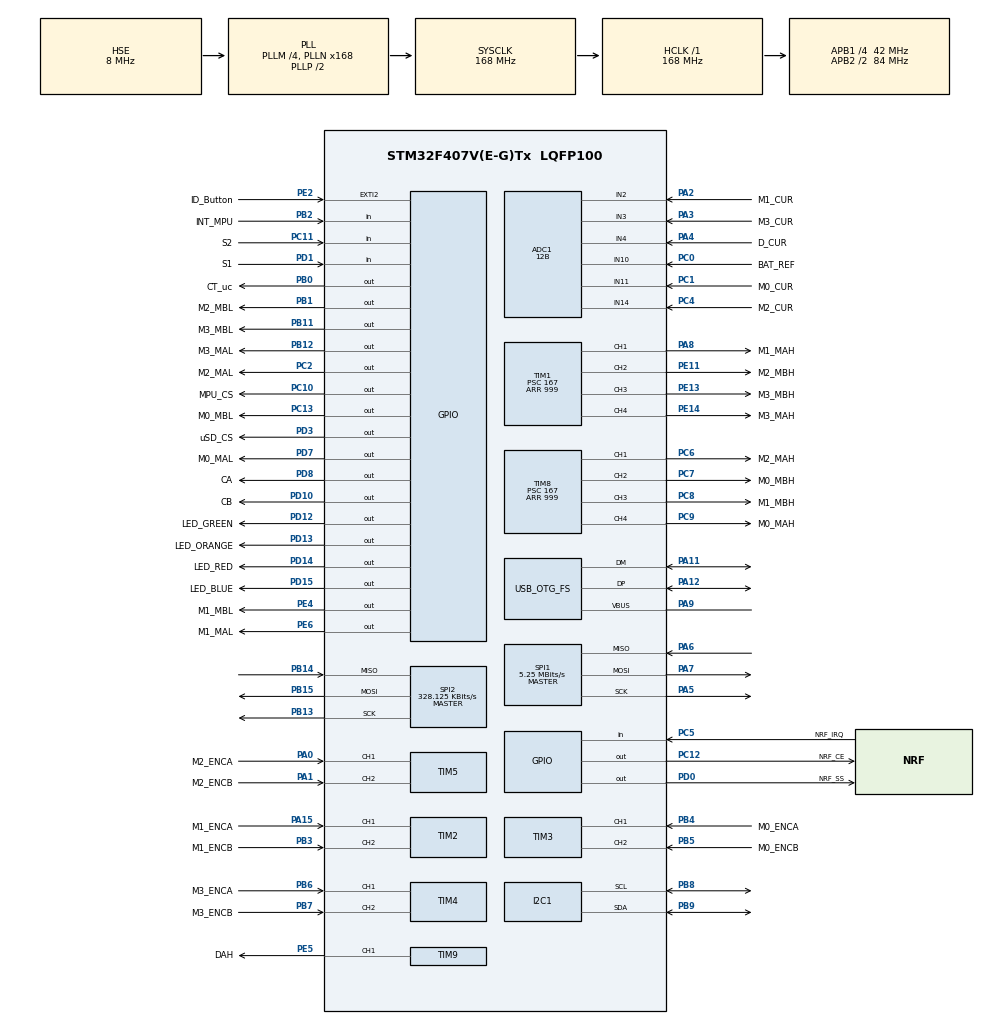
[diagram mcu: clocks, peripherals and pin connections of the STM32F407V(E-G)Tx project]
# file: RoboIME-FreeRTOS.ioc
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ADC1.Channel-0\#ChannelRegularConversion=ADC_CHANNEL_11
ADC1.Channel-1\#ChannelRegularConversion=ADC_CHANNEL_2
ADC1.Channel-2\#ChannelRegularConversion=ADC_CHANNEL_14
ADC1.Channel-3\#ChannelRegularConversion=ADC_CHANNEL_3
ADC1.Channel-4\#ChannelRegularConversion=ADC_CHANNEL_4
ADC1.Channel-5\#ChannelRegularConversion=ADC_CHANNEL_10
ADC1.Channel-6\#ChannelRegularConversion=ADC_CHANNEL_TEMPSENSOR
ADC1.Channel-7\#ChannelRegularConversion=ADC_CHANNEL_VREFINT
ADC1.ClockPrescaler=ADC_CLOCK_SYNC_PCLK_DIV4
ADC1.ContinuousConvMode=ENABLE
ADC1.DMAContinuousRequests=ENABLE
ADC1.DataAlign=ADC_DATAALIGN_RIGHT
ADC1.DiscontinuousConvMode=DISABLE
ADC1.EOCSelection=ADC_EOC_SINGLE_CONV
ADC1.EnableAnalogWatchDog=false
ADC1.ExternalTrigConv=ADC_SOFTWARE_START
ADC1.ExternalTrigConvEdge=ADC_EXTERNALTRIGCONVEDGE_NONE
ADC1.InjNumberOfConversion=0
ADC1.NbrOfConversion=8
ADC1.NbrOfConversionFlag=1
ADC1.Rank-0\#ChannelRegularConversion=1
ADC1.Rank-1\#ChannelRegularConversion=2
ADC1.Rank-2\#ChannelRegularConversion=3
ADC1.Rank-3\#ChannelRegularConversion=4
ADC1.Rank-4\#ChannelRegularConversion=5
ADC1.Rank-5\#ChannelRegularConversion=6
ADC1.Rank-6\#ChannelRegularConversion=7
ADC1.Rank-7\#ChannelRegularConversion=8
ADC1.Resolution=ADC_RESOLUTION_12B
ADC1.SamplingTime-0\#ChannelRegularConversion=ADC_SAMPLETIME_15CYCLES
ADC1.SamplingTime-1\#ChannelRegularConversion=ADC_SAMPLETIME_15CYCLES
ADC1.SamplingTime-2\#ChannelRegularConversion=ADC_SAMPLETIME_15CYCLES
ADC1.SamplingTime-3\#ChannelRegularConversion=ADC_SAMPLETIME_15CYCLES
ADC1.SamplingTime-4\#ChannelRegularConversion=ADC_SAMPLETIME_15CYCLES
ADC1.SamplingTime-5\#ChannelRegularConversion=ADC_SAMPLETIME_15CYCLES
ADC1.SamplingTime-6\#ChannelRegularConversion=ADC_SAMPLETIME_15CYCLES
ADC1.SamplingTime-7\#ChannelRegularConversion=ADC_SAMPLETIME_15CYCLES
ADC1.ScanConvMode=ENABLE
ADC1.master=1
Dma.ADC1.0.Direction=DMA_PERIPH_TO_MEMORY
Dma.ADC1.0.FIFOMode=DMA_FIFOMODE_DISABLE
Dma.ADC1.0.Instance=DMA2_Stream0
Dma.ADC1.0.MemDataAlignment=DMA_MDATAALIGN_HALFWORD
Dma.ADC1.0.MemInc=DMA_MINC_ENABLE
Dma.ADC1.0.Mode=DMA_CIRCULAR
Dma.ADC1.0.PeriphDataAlignment=DMA_PDATAALIGN_HALFWORD
Dma.ADC1.0.PeriphInc=DMA_PINC_DISABLE
Dma.ADC1.0.Priority=DMA_PRIORITY_LOW
Dma.Request0=ADC1
FREERTOS.Tasks01=defaultTask,0,128,StartDefaultTask,Default,NULL
I2C1.DualAddressMode=I2C_DUALADDRESS_ENABLE
I2C1.OwnAddress=65
Mcu.Family=STM32F4
Mcu.Name=STM32F407V(E-G)Tx
Mcu.Package=LQFP100
NVIC.DMA2_Stream0_IRQn=true\:5\:0\:false\:false\:true\:true\:false
NVIC.EXTI2_IRQn=true\:10\:0\:true\:false\:true\:true\:true
NVIC.OTG_FS_IRQn=true\:5\:0\:false\:false\:true\:true\:false
NVIC.PriorityGroup=NVIC_PRIORITYGROUP_4
NVIC.TIM1_CC_IRQn=true\:5\:0\:false\:false\:true\:true\:true
PA0-WKUP.GPIO_Label=M2_ENCA
PA0-WKUP.GPIO_PuPd=GPIO_PULLUP
PA0-WKUP.Signal=S_TIM5_CH1
PA1.GPIO_Label=M2_ENCB
PA1.GPIO_PuPd=GPIO_PULLUP
PA1.Signal=S_TIM5_CH2
PA11.Mode=Device_Only
PA11.Signal=USB_OTG_FS_DM
PA12.Mode=Device_Only
PA12.Signal=USB_OTG_FS_DP
PA13.Mode=Serial_Wire
PA13.Signal=SYS_JTMS-SWDIO
PA14.Mode=Serial_Wire
PA14.Signal=SYS_JTCK-SWCLK
PA15.GPIO_Label=M1_ENCA
PA15.GPIO_PuPd=GPIO_PULLUP
PA15.Signal=S_TIM2_CH1_ETR
PA2.GPIO_Label=M1_CUR
PA2.Signal=ADCx_IN2
PA3.GPIO_Label=M3_CUR
PA3.Signal=ADCx_IN3
PA4.GPIO_Label=D_CUR
PA4.Signal=ADCx_IN4
PA5.Mode=Full_Duplex_Master
PA5.Signal=SPI1_SCK
PA6.Mode=Full_Duplex_Master
PA6.Signal=SPI1_MISO
PA7.Mode=Full_Duplex_Master
PA7.Signal=SPI1_MOSI
PA8.GPIO_Label=M1_MAH
PA8.Signal=S_TIM1_CH1
PA9.Mode=Activate_VBUS
PA9.Signal=USB_OTG_FS_VBUS
PB0.GPIO_Label=CT_uc
PB0.Signal=GPIO_Output
PB1.GPIO_Label=M2_MBL
PB1.Signal=GPIO_Output
PB11.GPIO_Label=M3_MBL
PB11.Signal=GPIO_Output
PB12.GPIO_Label=M3_MAL
PB12.Signal=GPIO_Output
PB13.Mode=Full_Duplex_Master
PB13.Signal=SPI2_SCK
PB14.Mode=Full_Duplex_Master
PB14.Signal=SPI2_MISO
PB15.Mode=Full_Duplex_Master
PB15.Signal=SPI2_MOSI
PB2.GPIO_Label=INT_MPU
PB2.GPIO_PuPd=GPIO_PULLUP
PB2.Signal=GPIO_Input
PB3.GPIO_Label=M1_ENCB
PB3.GPIO_PuPd=GPIO_PULLUP
PB3.Signal=S_TIM2_CH2
PB4.GPIO_Label=M0_ENCA
PB4.GPIO_PuPd=GPIO_PULLUP
PB4.Signal=S_TIM3_CH1
PB5.GPIO_Label=M0_ENCB
PB5.GPIO_PuPd=GPIO_PULLUP
PB5.Signal=S_TIM3_CH2
PB6.GPIO_Label=M3_ENCA
PB6.GPIO_PuPd=GPIO_PULLUP
PB6.Signal=S_TIM4_CH1
PB7.GPIO_Label=M3_ENCB
PB7.GPIO_PuPd=GPIO_PULLUP
PB7.Signal=S_TIM4_CH2
PB8.Mode=I2C
PB8.Signal=I2C1_SCL
PB9.Mode=I2C
PB9.Signal=I2C1_SDA
PC0.GPIO_Label=BAT_REF
PC0.Signal=ADCx_IN10
PC1.GPIO_Label=M0_CUR
PC1.Signal=ADCx_IN11
PC10.GPIO_Label=MPU_CS
PC10.PinState=GPIO_PIN_SET
PC10.Signal=GPIO_Output
PC11.GPIO_Label=S2
PC11.Signal=GPIO_Input
PC12.GPIO_Label=NRF_CE
PC12.PinState=GPIO_PIN_SET
PC12.Signal=GPIO_Output
PC13-ANTI_TAMP.GPIO_Label=M0_MBL
PC13-ANTI_TAMP.Signal=GPIO_Output
PC2.GPIO_Label=M2_MAL
PC2.Signal=GPIO_Output
PC4.GPIO_Label=M2_CUR
PC4.Signal=ADCx_IN14
PC5.GPIO_Label=NRF_IRQ
PC5.GPIO_PuPd=GPIO_PULLUP
PC5.Signal=GPIO_Input
PC6.GPIO_Label=M2_MAH
PC6.Signal=S_TIM8_CH1
PC7.GPIO_Label=M0_MBH
PC7.Signal=S_TIM8_CH2
PC8.GPIO_Label=M1_MBH
PC8.Signal=S_TIM8_CH3
PC9.GPIO_Label=M0_MAH
PC9.Signal=S_TIM8_CH4
PD0.GPIO_Label=NRF_SS
PD0.PinState=GPIO_PIN_SET
PD0.Signal=GPIO_Output
PD1.GPIO_Label=S1
PD1.Signal=GPIO_Input
PD10.GPIO_Label=CB
PD10.Signal=GPIO_Output
PD12.GPIO_Label=LED_GREEN
PD12.Signal=GPIO_Output
PD13.GPIO_Label=LED_ORANGE
PD13.Signal=GPIO_Output
PD14.GPIO_Label=LED_RED
PD14.Signal=GPIO_Output
PD15.GPIO_Label=LED_BLUE
PD15.Signal=GPIO_Output
PD3.GPIO_Label=uSD_CS
PD3.PinState=GPIO_PIN_SET
PD3.Signal=GPIO_Output
PD4.GPIO_Label=Reset(CS43L22)
PD4.Signal=EVENTOUT
PD5.GPIO_Label=USB_overcurrent
PD5.Signal=EVENTOUT
PD7.GPIO_Label=M0_MAL
PD7.Signal=GPIO_Output
PD8.GPIO_Label=CA
PD8.Signal=GPIO_Output
PE11.GPIO_Label=M2_MBH
PE11.Signal=S_TIM1_CH2
PE13.GPIO_Label=M3_MBH
PE13.Signal=S_TIM1_CH3
PE14.GPIO_Label=M3_MAH
PE14.Signal=S_TIM1_CH4
PE2.GPIO_Label=ID_Button
PE2.GPIO_ModeDefaultEXTI=GPIO_MODE_IT_RISING_FALLING
PE2.GPIO_PuPd=GPIO_PULLUP
PE2.Signal=GPXTI2
PE4.GPIO_Label=M1_MBL
PE4.Signal=GPIO_Output
PE5.GPIO_Label=DAH
PE5.Signal=S_TIM9_CH1
PE6.GPIO_Label=M1_MAL
PE6.Signal=GPIO_Output
PH0-OSC_IN.Mode=HSE-External-Oscillator
PH0-OSC_IN.Signal=RCC_OSC_IN
PH1-OSC_OUT.Mode=HSE-External-Oscillator
PH1-OSC_OUT.Signal=RCC_OSC_OUT
ProjectManager.HeapSize=0x200
ProjectManager.StackSize=0x400
ProjectManager.TargetToolchain=TrueSTUDIO
RCC.48MHZClocksFreq_Value=48000000
RCC.AHBFreq_Value=168000000
RCC.APB1CLKDivider=RCC_HCLK_DIV4
RCC.APB1Freq_Value=42000000
RCC.APB1TimFreq_Value=84000000
RCC.APB2CLKDivider=RCC_HCLK_DIV2
RCC.APB2Freq_Value=84000000
RCC.APB2TimFreq_Value=168000000
RCC.CortexFreq_Value=168000000
RCC.HCLKFreq_Value=168000000
RCC.HSE_VALUE=8000000
RCC.HSI_VALUE=16000000
RCC.LSE_VALUE=32768
RCC.PLLM=4
RCC.PLLN=168
RCC.PLLQ=7
RCC.SYSCLKFreq_VALUE=168000000
RCC.SYSCLKSource=RCC_SYSCLKSOURCE_PLLCLK
RCC.VCOOutputFreq_Value=336000000
SH.ADCx_IN10.0=ADC1_IN10,IN10
SH.ADCx_IN11.0=ADC1_IN11,IN11
SH.ADCx_IN14.0=ADC1_IN14,IN14
SH.ADCx_IN2.0=ADC1_IN2,IN2
SH.ADCx_IN3.0=ADC1_IN3,IN3
SH.ADCx_IN4.0=ADC1_IN4,IN4
SH.S_TIM1_CH1.0=TIM1_CH1,PWM Generation1 CH1
SH.S_TIM1_CH2.0=TIM1_CH2,PWM Generation2 CH2
SH.S_TIM1_CH3.0=TIM1_CH3,PWM Generation3 CH3
SH.S_TIM1_CH4.0=TIM1_CH4,PWM Generation4 CH4
SH.S_TIM2_CH1_ETR.0=TIM2_CH1,Encoder_Interface
SH.S_TIM2_CH2.0=TIM2_CH2,Encoder_Interface
SH.S_TIM3_CH1.0=TIM3_CH1,Encoder_Interface
SH.S_TIM3_CH2.0=TIM3_CH2,Encoder_Interface
SH.S_TIM4_CH1.0=TIM4_CH1,Encoder_Interface
SH.S_TIM4_CH2.0=TIM4_CH2,Encoder_Interface
SH.S_TIM5_CH1.0=TIM5_CH1,Encoder_Interface
SH.S_TIM5_CH2.0=TIM5_CH2,Encoder_Interface
SH.S_TIM8_CH1.0=TIM8_CH1,PWM Generation1 CH1
SH.S_TIM8_CH2.0=TIM8_CH2,PWM Generation2 CH2
SH.S_TIM8_CH3.0=TIM8_CH3,PWM Generation3 CH3
SH.S_TIM8_CH4.0=TIM8_CH4,PWM Generation4 CH4
SH.S_TIM9_CH1.0=TIM9_CH1,PWM Generation1 CH1
SPI1.BaudRatePrescaler=SPI_BAUDRATEPRESCALER_16
SPI1.CalculateBaudRate=5.25 MBits/s
SPI1.Direction=SPI_DIRECTION_2LINES
SPI1.Mode=SPI_MODE_MASTER
SPI1.VirtualType=VM_MASTER
SPI2.BaudRatePrescaler=SPI_BAUDRATEPRESCALER_128
SPI2.CalculateBaudRate=328.125 KBits/s
SPI2.Direction=SPI_DIRECTION_2LINES
SPI2.Mode=SPI_MODE_MASTER
SPI2.VirtualType=VM_MASTER
TIM1.Channel-PWM\ Generation1\ CH1=TIM_CHANNEL_1
TIM1.Channel-PWM\ Generation2\ CH2=TIM_CHANNEL_2
TIM1.Channel-PWM\ Generation3\ CH3=TIM_CHANNEL_3
TIM1.Channel-PWM\ Generation4\ CH4=TIM_CHANNEL_4
TIM1.OCIdleState_1=TIM_OCIDLESTATE_SET
TIM1.OCIdleState_2=TIM_OCIDLESTATE_SET
TIM1.OCIdleState_3=TIM_OCIDLESTATE_SET
TIM1.OCIdleState_4=TIM_OCIDLESTATE_SET
TIM1.OCPolarity_1=TIM_OCPOLARITY_LOW
TIM1.OCPolarity_2=TIM_OCPOLARITY_LOW
TIM1.OCPolarity_3=TIM_OCPOLARITY_LOW
TIM1.OCPolarity_4=TIM_OCPOLARITY_LOW
TIM1.Period=999
TIM1.Prescaler=167
TIM8.Channel-PWM\ Generation1\ CH1=TIM_CHANNEL_1
TIM8.Channel-PWM\ Generation2\ CH2=TIM_CHANNEL_2
TIM8.Channel-PWM\ Generation3\ CH3=TIM_CHANNEL_3
TIM8.Channel-PWM\ Generation4\ CH4=TIM_CHANNEL_4
TIM8.OCIdleState_1=TIM_OCIDLESTATE_SET
TIM8.OCIdleState_2=TIM_OCIDLESTATE_SET
TIM8.OCIdleState_3=TIM_OCIDLESTATE_SET
TIM8.OCIdleState_4=TIM_OCIDLESTATE_SET
TIM8.OCPolarity_1=TIM_OCPOLARITY_LOW
TIM8.OCPolarity_2=TIM_OCPOLARITY_LOW
TIM8.OCPolarity_3=TIM_OCPOLARITY_LOW
TIM8.OCPolarity_4=TIM_OCPOLARITY_LOW
TIM8.Period=999
TIM8.Prescaler=167
TIM9.Channel-PWM\ Generation1\ CH1=TIM_CHANNEL_1
TIM9.OCPolarity_1=TIM_OCPOLARITY_LOW
TIM9.Period=999
TIM9.Prescaler=167
USB_DEVICE.CLASS_NAME_FS=CDC
USB_DEVICE.VirtualMode-CDC_FS=Cdc
USB_DEVICE.VirtualModeFS=Cdc_FS
USB_OTG_FS.VirtualMode=Device_Only
VP_ADC1_TempSens_Input.Mode=IN-TempSens
VP_ADC1_Vref_Input.Mode=IN-Vrefint
VP_FREERTOS_VS_ENABLE.Mode=Enabled
VP_USB_DEVICE_VS_USB_DEVICE_CDC_FS.Mode=CDC_FS
board=RoboIME-FreeRTOS

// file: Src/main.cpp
/**
 ******************************************************************************
 * @file           : main.c
 * @brief          : Main program body
 ******************************************************************************
 * This notice applies to any and all portions of this file
 * that are not between comment pairs USER CODE BEGIN and
 * USER CODE END. Other portions of this file, whether
 * inserted by the user or by software development tools
 * are owned by their respective copyright owners.
 *
 * Copyright (c) 2018 STMicroelectronics International N.V.
 * All rights reserved.
 *
 * Redistribution and use in source and binary forms, with or without
 * modification, are permitted, provided that the following conditions are met:
 *
 * 1. Redistribution of source code must retain the above copyright notice,
 *    this list of conditions and the following disclaimer.
 * 2. Redistributions in binary form must reproduce the above copyright notice,
 *    this list of conditions and the following disclaimer in the documentation
 *    and/or other materials provided with the distribution.
 * 3. Neither the name of STMicroelectronics nor the names of other
 *    contributors to this software may be used to endorse or promote products
 *    derived from this software without specific written permission.
 * 4. This software, including modifications and/or derivative works of this
 *    software, must execute solely and exclusively on microcontroller or
 *    microprocessor devices manufactured by or for STMicroelectronics.
 * 5. Redistribution and use of this software other than as permitted under
 *    this license is void and will automatically terminate your rights under
 *    this license.
 *
 * THIS SOFTWARE IS PROVIDED BY STMICROELECTRONICS AND CONTRIBUTORS "AS IS"
 * AND ANY EXPRESS, IMPLIED OR STATUTORY WARRANTIES, INCLUDING, BUT NOT
 * LIMITED TO, THE IMPLIED WARRANTIES OF MERCHANTABILITY, FITNESS FOR A
 * PARTICULAR PURPOSE AND NON-INFRINGEMENT OF THIRD PARTY INTELLECTUAL PROPERTY
 * RIGHTS ARE DISCLAIMED TO THE FULLEST EXTENT PERMITTED BY LAW. IN NO EVENT
 * SHALL STMICROELECTRONICS OR CONTRIBUTORS BE LIABLE FOR ANY DIRECT, INDIRECT,
 * INCIDENTAL, SPECIAL, EXEMPLARY, OR CONSEQUENTIAL DAMAGES (INCLUDING, BUT NOT
 * LIMITED TO, PROCUREMENT OF SUBSTITUTE GOODS OR SERVICES; LOSS OF USE, DATA,
 * OR PROFITS; OR BUSINESS INTERRUPTION) HOWEVER CAUSED AND ON ANY THEORY OF
 * LIABILITY, WHETHER IN CONTRACT, STRICT LIABILITY, OR TORT (INCLUDING
 * NEGLIGENCE OR OTHERWISE) ARISING IN ANY WAY OUT OF THE USE OF THIS SOFTWARE,
 * EVEN IF ADVISED OF THE POSSIBILITY OF SUCH DAMAGE.
 *
 ******************************************************************************
 */
#include "main.h"
#include "stm32f4xx_hal.h"
#include "cmsis_os.h"
#include "usb_device.h"

ADC_HandleTypeDef hadc1;
DMA_HandleTypeDef hdma_adc1;

I2C_HandleTypeDef hi2c1;

SPI_HandleTypeDef hspi1;
SPI_HandleTypeDef hspi2;

TIM_HandleTypeDef htim1;
TIM_HandleTypeDef htim2;
TIM_HandleTypeDef htim3;
TIM_HandleTypeDef htim4;
TIM_HandleTypeDef htim5;
TIM_HandleTypeDef htim8;
TIM_HandleTypeDef htim9;

osThreadId defaultTaskHandle;

/* USER CODE BEGIN PV */
/* Private variables ---------------------------------------------------------*/

/* USER CODE END PV */

void SystemClock_Config(void);
static void MX_GPIO_Init(void);
static void MX_DMA_Init(void);
static void MX_ADC1_Init(void);
static void MX_I2C1_Init(void);
static void MX_SPI1_Init(void);
static void MX_SPI2_Init(void);
static void MX_TIM1_Init(void);
static void MX_TIM2_Init(void);
static void MX_TIM3_Init(void);
static void MX_TIM4_Init(void);
static void MX_TIM5_Init(void);
static void MX_TIM8_Init(void);
static void MX_TIM9_Init(void);
void StartDefaultTask(void const * argument);

extern "C" void HAL_TIM_MspPostInit(TIM_HandleTypeDef *htim);

/* USER CODE BEGIN PFP */
/* Private function prototypes -----------------------------------------------*/

/* USER CODE END PFP */

int main(void)
{

	/* MCU Configuration----------------------------------------------------------*/

	/* Reset of all peripherals, Initializes the Flash interface and the Systick. */
	HAL_Init();

	/* Configure the system clock */
	SystemClock_Config();

	/* Initialize all configured peripherals */
	MX_GPIO_Init();
	MX_DMA_Init();
	MX_ADC1_Init();
	MX_I2C1_Init();
	MX_SPI1_Init();
	MX_SPI2_Init();
	MX_TIM1_Init();
	MX_TIM2_Init();
	MX_TIM3_Init();
	MX_TIM4_Init();
	MX_TIM5_Init();
	MX_TIM8_Init();
	MX_TIM9_Init();

	/* Create the thread(s) */
	/* definition and creation of defaultTask */
	osThreadDef(defaultTask, StartDefaultTask, osPriorityNormal, 0, 128);
	defaultTaskHandle = osThreadCreate(osThread(defaultTask), NULL);

	/* Start scheduler */
	osKernelStart();

	/* We should never get here as control is now taken by the scheduler */

	/* Infinite loop */
	while (1)
	{

	}

}

void SystemClock_Config(void)
{

	RCC_OscInitTypeDef RCC_OscInitStruct;
	RCC_ClkInitTypeDef RCC_ClkInitStruct;

	/**Configure the main internal regulator output voltage
	 */
	__HAL_RCC_PWR_CLK_ENABLE();

	__HAL_PWR_VOLTAGESCALING_CONFIG(PWR_REGULATOR_VOLTAGE_SCALE1);

	/**Initializes the CPU, AHB and APB busses clocks
	 */
	RCC_OscInitStruct.OscillatorType = RCC_OSCILLATORTYPE_HSE;
	RCC_OscInitStruct.HSEState = RCC_HSE_ON;
	RCC_OscInitStruct.PLL.PLLState = RCC_PLL_ON;
	RCC_OscInitStruct.PLL.PLLSource = RCC_PLLSOURCE_HSE;
	RCC_OscInitStruct.PLL.PLLM = 4;
	RCC_OscInitStruct.PLL.PLLN = 168;
	RCC_OscInitStruct.PLL.PLLP = RCC_PLLP_DIV2;
	RCC_OscInitStruct.PLL.PLLQ = 7;
	if (HAL_RCC_OscConfig(&RCC_OscInitStruct) != HAL_OK)
	{
		_Error_Handler(__FILE__, __LINE__);
	}

	/**Initializes the CPU, AHB and APB busses clocks
	 */
	RCC_ClkInitStruct.ClockType = RCC_CLOCKTYPE_HCLK|RCC_CLOCKTYPE_SYSCLK
			|RCC_CLOCKTYPE_PCLK1|RCC_CLOCKTYPE_PCLK2;
	RCC_ClkInitStruct.SYSCLKSource = RCC_SYSCLKSOURCE_PLLCLK;
	RCC_ClkInitStruct.AHBCLKDivider = RCC_SYSCLK_DIV1;
	RCC_ClkInitStruct.APB1CLKDivider = RCC_HCLK_DIV4;
	RCC_ClkInitStruct.APB2CLKDivider = RCC_HCLK_DIV2;

	if (HAL_RCC_ClockConfig(&RCC_ClkInitStruct, FLASH_LATENCY_5) != HAL_OK)
	{
		_Error_Handler(__FILE__, __LINE__);
	}

	/**Configure the Systick interrupt time
	 */
	HAL_SYSTICK_Config(HAL_RCC_GetHCLKFreq()/1000);

	/**Configure the Systick
	 */
	HAL_SYSTICK_CLKSourceConfig(SYSTICK_CLKSOURCE_HCLK);

	/* SysTick_IRQn interrupt configuration */
	HAL_NVIC_SetPriority(SysTick_IRQn, 15, 0);
}

/* ADC1 init function */
static void MX_ADC1_Init(void)
{

	ADC_ChannelConfTypeDef sConfig;

	/**Configure the global features of the ADC (Clock, Resolution, Data Alignment and number of conversion)
	 */
	hadc1.Instance = ADC1;
	hadc1.Init.ClockPrescaler = ADC_CLOCK_SYNC_PCLK_DIV4;
	hadc1.Init.Resolution = ADC_RESOLUTION_12B;
	hadc1.Init.ScanConvMode = ENABLE;
	hadc1.Init.ContinuousConvMode = ENABLE;
	hadc1.Init.DiscontinuousConvMode = DISABLE;
	hadc1.Init.ExternalTrigConvEdge = ADC_EXTERNALTRIGCONVEDGE_NONE;
	hadc1.Init.ExternalTrigConv = ADC_SOFTWARE_START;
	hadc1.Init.DataAlign = ADC_DATAALIGN_RIGHT;
	hadc1.Init.NbrOfConversion = 8;
	hadc1.Init.DMAContinuousRequests = ENABLE;
	hadc1.Init.EOCSelection = ADC_EOC_SINGLE_CONV;
	if (HAL_ADC_Init(&hadc1) != HAL_OK)
	{
		_Error_Handler(__FILE__, __LINE__);
	}

	/**Configure for the selected ADC regular channel its corresponding rank in the sequencer and its sample time.
	 */
	sConfig.Channel = ADC_CHANNEL_11;
	sConfig.Rank = 1;
	sConfig.SamplingTime = ADC_SAMPLETIME_15CYCLES;
	if (HAL_ADC_ConfigChannel(&hadc1, &sConfig) != HAL_OK)
	{
		_Error_Handler(__FILE__, __LINE__);
	}

	/**Configure for the selected ADC regular channel its corresponding rank in the sequencer and its sample time.
	 */
	sConfig.Channel = ADC_CHANNEL_2;
	sConfig.Rank = 2;
	if (HAL_ADC_ConfigChannel(&hadc1, &sConfig) != HAL_OK)
	{
		_Error_Handler(__FILE__, __LINE__);
	}

	/**Configure for the selected ADC regular channel its corresponding rank in the sequencer and its sample time.
	 */
	sConfig.Channel = ADC_CHANNEL_14;
	sConfig.Rank = 3;
	if (HAL_ADC_ConfigChannel(&hadc1, &sConfig) != HAL_OK)
	{
		_Error_Handler(__FILE__, __LINE__);
	}

	/**Configure for the selected ADC regular channel its corresponding rank in the sequencer and its sample time.
	 */
	sConfig.Channel = ADC_CHANNEL_3;
	sConfig.Rank = 4;
	if (HAL_ADC_ConfigChannel(&hadc1, &sConfig) != HAL_OK)
	{
		_Error_Handler(__FILE__, __LINE__);
	}

	/**Configure for the selected ADC regular channel its corresponding rank in the sequencer and its sample time.
	 */
	sConfig.Channel = ADC_CHANNEL_4;
	sConfig.Rank = 5;
	if (HAL_ADC_ConfigChannel(&hadc1, &sConfig) != HAL_OK)
	{
		_Error_Handler(__FILE__, __LINE__);
	}

	/**Configure for the selected ADC regular channel its corresponding rank in the sequencer and its sample time.
	 */
	sConfig.Channel = ADC_CHANNEL_10;
	sConfig.Rank = 6;
	if (HAL_ADC_ConfigChannel(&hadc1, &sConfig) != HAL_OK)
	{
		_Error_Handler(__FILE__, __LINE__);
	}

	/**Configure for the selected ADC regular channel its corresponding rank in the sequencer and its sample time.
	 */
	sConfig.Channel = ADC_CHANNEL_TEMPSENSOR;
	sConfig.Rank = 7;
	if (HAL_ADC_ConfigChannel(&hadc1, &sConfig) != HAL_OK)
	{
		_Error_Handler(__FILE__, __LINE__);
	}

	/**Configure for the selected ADC regular channel its corresponding rank in the sequencer and its sample time.
	 */
	sConfig.Channel = ADC_CHANNEL_VREFINT;
	sConfig.Rank = 8;
	if (HAL_ADC_ConfigChannel(&hadc1, &sConfig) != HAL_OK)
	{
		_Error_Handler(__FILE__, __LINE__);
	}

}

/* I2C1 init function */
static void MX_I2C1_Init(void)
{

	hi2c1.Instance = I2C1;
	hi2c1.Init.ClockSpeed = 100000;
	hi2c1.Init.DutyCycle = I2C_DUTYCYCLE_2;
	hi2c1.Init.OwnAddress1 = 130;
	hi2c1.Init.AddressingMode = I2C_ADDRESSINGMODE_7BIT;
	hi2c1.Init.DualAddressMode = I2C_DUALADDRESS_ENABLE;
	hi2c1.Init.OwnAddress2 = 0;
	hi2c1.Init.GeneralCallMode = I2C_GENERALCALL_DISABLE;
	hi2c1.Init.NoStretchMode = I2C_NOSTRETCH_DISABLE;
	if (HAL_I2C_Init(&hi2c1) != HAL_OK)
	{
		_Error_Handler(__FILE__, __LINE__);
	}

}

/* SPI1 init function */
static void MX_SPI1_Init(void)
{

	/* SPI1 parameter configuration*/
	hspi1.Instance = SPI1;
	hspi1.Init.Mode = SPI_MODE_MASTER;
	hspi1.Init.Direction = SPI_DIRECTION_2LINES;
	hspi1.Init.DataSize = SPI_DATASIZE_8BIT;
	hspi1.Init.CLKPolarity = SPI_POLARITY_LOW;
	hspi1.Init.CLKPhase = SPI_PHASE_1EDGE;
	hspi1.Init.NSS = SPI_NSS_SOFT;
	hspi1.Init.BaudRatePrescaler = SPI_BAUDRATEPRESCALER_16;
	hspi1.Init.FirstBit = SPI_FIRSTBIT_MSB;
	hspi1.Init.TIMode = SPI_TIMODE_DISABLE;
	hspi1.Init.CRCCalculation = SPI_CRCCALCULATION_DISABLE;
	hspi1.Init.CRCPolynomial = 10;
	if (HAL_SPI_Init(&hspi1) != HAL_OK)
	{
		_Error_Handler(__FILE__, __LINE__);
	}

}

/* SPI2 init function */
static void MX_SPI2_Init(void)
{

	/* SPI2 parameter configuration*/
	hspi2.Instance = SPI2;
	hspi2.Init.Mode = SPI_MODE_MASTER;
	hspi2.Init.Direction = SPI_DIRECTION_2LINES;
	hspi2.Init.DataSize = SPI_DATASIZE_8BIT;
	hspi2.Init.CLKPolarity = SPI_POLARITY_LOW;
	hspi2.Init.CLKPhase = SPI_PHASE_1EDGE;
	hspi2.Init.NSS = SPI_NSS_SOFT;
	hspi2.Init.BaudRatePrescaler = SPI_BAUDRATEPRESCALER_128;
	hspi2.Init.FirstBit = SPI_FIRSTBIT_MSB;
	hspi2.Init.TIMode = SPI_TIMODE_DISABLE;
	hspi2.Init.CRCCalculation = SPI_CRCCALCULATION_DISABLE;
	hspi2.Init.CRCPolynomial = 10;
	if (HAL_SPI_Init(&hspi2) != HAL_OK)
	{
		_Error_Handler(__FILE__, __LINE__);
	}

}

/* TIM1 init function */
static void MX_TIM1_Init(void)
{

	TIM_MasterConfigTypeDef sMasterConfig;
	TIM_OC_InitTypeDef sConfigOC;
	TIM_BreakDeadTimeConfigTypeDef sBreakDeadTimeConfig;

	htim1.Instance = TIM1;
	htim1.Init.Prescaler = 167;
	htim1.Init.CounterMode = TIM_COUNTERMODE_UP;
	htim1.Init.Period = 999;
	htim1.Init.ClockDivision = TIM_CLOCKDIVISION_DIV1;
	htim1.Init.RepetitionCounter = 0;
	if (HAL_TIM_PWM_Init(&htim1) != HAL_OK)
	{
		_Error_Handler(__FILE__, __LINE__);
	}

	sMasterConfig.MasterOutputTrigger = TIM_TRGO_RESET;
	sMasterConfig.MasterSlaveMode = TIM_MASTERSLAVEMODE_DISABLE;
	if (HAL_TIMEx_MasterConfigSynchronization(&htim1, &sMasterConfig) != HAL_OK)
	{
		_Error_Handler(__FILE__, __LINE__);
	}

	sConfigOC.OCMode = TIM_OCMODE_PWM1;
	sConfigOC.Pulse = 0;
	sConfigOC.OCPolarity = TIM_OCPOLARITY_LOW;
	sConfigOC.OCNPolarity = TIM_OCNPOLARITY_HIGH;
	sConfigOC.OCFastMode = TIM_OCFAST_DISABLE;
	sConfigOC.OCIdleState = TIM_OCIDLESTATE_SET;
	sConfigOC.OCNIdleState = TIM_OCNIDLESTATE_RESET;
	if (HAL_TIM_PWM_ConfigChannel(&htim1, &sConfigOC, TIM_CHANNEL_1) != HAL_OK)
	{
		_Error_Handler(__FILE__, __LINE__);
	}

	if (HAL_TIM_PWM_ConfigChannel(&htim1, &sConfigOC, TIM_CHANNEL_2) != HAL_OK)
	{
		_Error_Handler(__FILE__, __LINE__);
	}

	if (HAL_TIM_PWM_ConfigChannel(&htim1, &sConfigOC, TIM_CHANNEL_3) != HAL_OK)
	{
		_Error_Handler(__FILE__, __LINE__);
	}

	if (HAL_TIM_PWM_ConfigChannel(&htim1, &sConfigOC, TIM_CHANNEL_4) != HAL_OK)
	{
		_Error_Handler(__FILE__, __LINE__);
	}

	sBreakDeadTimeConfig.OffStateRunMode = TIM_OSSR_DISABLE;
	sBreakDeadTimeConfig.OffStateIDLEMode = TIM_OSSI_DISABLE;
	sBreakDeadTimeConfig.LockLevel = TIM_LOCKLEVEL_OFF;
	sBreakDeadTimeConfig.DeadTime = 0;
	sBreakDeadTimeConfig.BreakState = TIM_BREAK_DISABLE;
	sBreakDeadTimeConfig.BreakPolarity = TIM_BREAKPOLARITY_HIGH;
	sBreakDeadTimeConfig.AutomaticOutput = TIM_AUTOMATICOUTPUT_DISABLE;
	if (HAL_TIMEx_ConfigBreakDeadTime(&htim1, &sBreakDeadTimeConfig) != HAL_OK)
	{
		_Error_Handler(__FILE__, __LINE__);
	}

	HAL_TIM_MspPostInit(&htim1);

}

/* TIM2 init function */
static void MX_TIM2_Init(void)
{

	TIM_Encoder_InitTypeDef sConfig;
	TIM_MasterConfigTypeDef sMasterConfig;

	htim2.Instance = TIM2;
	htim2.Init.Prescaler = 0;
	htim2.Init.CounterMode = TIM_COUNTERMODE_UP;
	htim2.Init.Period = 0;
	htim2.Init.ClockDivision = TIM_CLOCKDIVISION_DIV1;
	sConfig.EncoderMode = TIM_ENCODERMODE_TI1;
	sConfig.IC1Polarity = TIM_ICPOLARITY_RISING;
	sConfig.IC1Selection = TIM_ICSELECTION_DIRECTTI;
	sConfig.IC1Prescaler = TIM_ICPSC_DIV1;
	sConfig.IC1Filter = 0;
	sConfig.IC2Polarity = TIM_ICPOLARITY_RISING;
	sConfig.IC2Selection = TIM_ICSELECTION_DIRECTTI;
	sConfig.IC2Prescaler = TIM_ICPSC_DIV1;
	sConfig.IC2Filter = 0;
	if (HAL_TIM_Encoder_Init(&htim2, &sConfig) != HAL_OK)
	{
		_Error_Handler(__FILE__, __LINE__);
	}

	sMasterConfig.MasterOutputTrigger = TIM_TRGO_RESET;
	sMasterConfig.MasterSlaveMode = TIM_MASTERSLAVEMODE_DISABLE;
	if (HAL_TIMEx_MasterConfigSynchronization(&htim2, &sMasterConfig) != HAL_OK)
	{
		_Error_Handler(__FILE__, __LINE__);
	}

}

/* TIM3 init function */
static void MX_TIM3_Init(void)
{

	TIM_Encoder_InitTypeDef sConfig;
	TIM_MasterConfigTypeDef sMasterConfig;

	htim3.Instance = TIM3;
	htim3.Init.Prescaler = 0;
	htim3.Init.CounterMode = TIM_COUNTERMODE_UP;
	htim3.Init.Period = 0;
	htim3.Init.ClockDivision = TIM_CLOCKDIVISION_DIV1;
	sConfig.EncoderMode = TIM_ENCODERMODE_TI1;
	sConfig.IC1Polarity = TIM_ICPOLARITY_RISING;
	sConfig.IC1Selection = TIM_ICSELECTION_DIRECTTI;
	sConfig.IC1Prescaler = TIM_ICPSC_DIV1;
	sConfig.IC1Filter = 0;
	sConfig.IC2Polarity = TIM_ICPOLARITY_RISING;
	sConfig.IC2Selection = TIM_ICSELECTION_DIRECTTI;
	sConfig.IC2Prescaler = TIM_ICPSC_DIV1;
	sConfig.IC2Filter = 0;
	if (HAL_TIM_Encoder_Init(&htim3, &sConfig) != HAL_OK)
	{
		_Error_Handler(__FILE__, __LINE__);
	}

	sMasterConfig.MasterOutputTrigger = TIM_TRGO_RESET;
	sMasterConfig.MasterSlaveMode = TIM_MASTERSLAVEMODE_DISABLE;
	if (HAL_TIMEx_MasterConfigSynchronization(&htim3, &sMasterConfig) != HAL_OK)
	{
		_Error_Handler(__FILE__, __LINE__);
	}

}

/* TIM4 init function */
static void MX_TIM4_Init(void)
{

	TIM_Encoder_InitTypeDef sConfig;
	TIM_MasterConfigTypeDef sMasterConfig;

	htim4.Instance = TIM4;
	htim4.Init.Prescaler = 0;
	htim4.Init.CounterMode = TIM_COUNTERMODE_UP;
	htim4.Init.Period = 0;
	htim4.Init.ClockDivision = TIM_CLOCKDIVISION_DIV1;
	sConfig.EncoderMode = TIM_ENCODERMODE_TI1;
	sConfig.IC1Polarity = TIM_ICPOLARITY_RISING;
	sConfig.IC1Selection = TIM_ICSELECTION_DIRECTTI;
	sConfig.IC1Prescaler = TIM_ICPSC_DIV1;
	sConfig.IC1Filter = 0;
	sConfig.IC2Polarity = TIM_ICPOLARITY_RISING;
	sConfig.IC2Selection = TIM_ICSELECTION_DIRECTTI;
	sConfig.IC2Prescaler = TIM_ICPSC_DIV1;
	sConfig.IC2Filter = 0;
	if (HAL_TIM_Encoder_Init(&htim4, &sConfig) != HAL_OK)
	{
		_Error_Handler(__FILE__, __LINE__);
	}

	sMasterConfig.MasterOutputTrigger = TIM_TRGO_RESET;
	sMasterConfig.MasterSlaveMode = TIM_MASTERSLAVEMODE_DISABLE;
	if (HAL_TIMEx_MasterConfigSynchronization(&htim4, &sMasterConfig) != HAL_OK)
	{
		_Error_Handler(__FILE__, __LINE__);
	}

}

/* TIM5 init function */
static void MX_TIM5_Init(void)
{

	TIM_Encoder_InitTypeDef sConfig;
	TIM_MasterConfigTypeDef sMasterConfig;

	htim5.Instance = TIM5;
	htim5.Init.Prescaler = 0;
	htim5.Init.CounterMode = TIM_COUNTERMODE_UP;
	htim5.Init.Period = 0;
	htim5.Init.ClockDivision = TIM_CLOCKDIVISION_DIV1;
	sConfig.EncoderMode = TIM_ENCODERMODE_TI1;
	sConfig.IC1Polarity = TIM_ICPOLARITY_RISING;
	sConfig.IC1Selection = TIM_ICSELECTION_DIRECTTI;
	sConfig.IC1Prescaler = TIM_ICPSC_DIV1;
	sConfig.IC1Filter = 0;
	sConfig.IC2Polarity = TIM_ICPOLARITY_RISING;
	sConfig.IC2Selection = TIM_ICSELECTION_DIRECTTI;
	sConfig.IC2Prescaler = TIM_ICPSC_DIV1;
	sConfig.IC2Filter = 0;
	if (HAL_TIM_Encoder_Init(&htim5, &sConfig) != HAL_OK)
	{
		_Error_Handler(__FILE__, __LINE__);
	}

	sMasterConfig.MasterOutputTrigger = TIM_TRGO_RESET;
	sMasterConfig.MasterSlaveMode = TIM_MASTERSLAVEMODE_DISABLE;
	if (HAL_TIMEx_MasterConfigSynchronization(&htim5, &sMasterConfig) != HAL_OK)
	{
		_Error_Handler(__FILE__, __LINE__);
	}

}

/* TIM8 init function */
static void MX_TIM8_Init(void)
{

	TIM_MasterConfigTypeDef sMasterConfig;
	TIM_OC_InitTypeDef sConfigOC;
	TIM_BreakDeadTimeConfigTypeDef sBreakDeadTimeConfig;

	htim8.Instance = TIM8;
	htim8.Init.Prescaler = 167;
	htim8.Init.CounterMode = TIM_COUNTERMODE_UP;
	htim8.Init.Period = 999;
	htim8.Init.ClockDivision = TIM_CLOCKDIVISION_DIV1;
	htim8.Init.RepetitionCounter = 0;
	if (HAL_TIM_PWM_Init(&htim8) != HAL_OK)
	{
		_Error_Handler(__FILE__, __LINE__);
	}

	sMasterConfig.MasterOutputTrigger = TIM_TRGO_RESET;
	sMasterConfig.MasterSlaveMode = TIM_MASTERSLAVEMODE_DISABLE;
	if (HAL_TIMEx_MasterConfigSynchronization(&htim8, &sMasterConfig) != HAL_OK)
	{
		_Error_Handler(__FILE__, __LINE__);
	}

	sConfigOC.OCMode = TIM_OCMODE_PWM1;
	sConfigOC.Pulse = 0;
	sConfigOC.OCPolarity = TIM_OCPOLARITY_LOW;
	sConfigOC.OCNPolarity = TIM_OCNPOLARITY_HIGH;
	sConfigOC.OCFastMode = TIM_OCFAST_DISABLE;
	sConfigOC.OCIdleState = TIM_OCIDLESTATE_SET;
	sConfigOC.OCNIdleState = TIM_OCNIDLESTATE_RESET;
	if (HAL_TIM_PWM_ConfigChannel(&htim8, &sConfigOC, TIM_CHANNEL_1) != HAL_OK)
	{
		_Error_Handler(__FILE__, __LINE__);
	}

	if (HAL_TIM_PWM_ConfigChannel(&htim8, &sConfigOC, TIM_CHANNEL_2) != HAL_OK)
	{
		_Error_Handler(__FILE__, __LINE__);
	}

	if (HAL_TIM_PWM_ConfigChannel(&htim8, &sConfigOC, TIM_CHANNEL_3) != HAL_OK)
	{
		_Error_Handler(__FILE__, __LINE__);
	}

	if (HAL_TIM_PWM_ConfigChannel(&htim8, &sConfigOC, TIM_CHANNEL_4) != HAL_OK)
	{
		_Error_Handler(__FILE__, __LINE__);
	}

	sBreakDeadTimeConfig.OffStateRunMode = TIM_OSSR_DISABLE;
	sBreakDeadTimeConfig.OffStateIDLEMode = TIM_OSSI_DISABLE;
	sBreakDeadTimeConfig.LockLevel = TIM_LOCKLEVEL_OFF;
	sBreakDeadTimeConfig.DeadTime = 0;
	sBreakDeadTimeConfig.BreakState = TIM_BREAK_DISABLE;
	sBreakDeadTimeConfig.BreakPolarity = TIM_BREAKPOLARITY_HIGH;
	sBreakDeadTimeConfig.AutomaticOutput = TIM_AUTOMATICOUTPUT_DISABLE;
	if (HAL_TIMEx_ConfigBreakDeadTime(&htim8, &sBreakDeadTimeConfig) != HAL_OK)
	{
		_Error_Handler(__FILE__, __LINE__);
	}

	HAL_TIM_MspPostInit(&htim8);

}

/* TIM9 init function */
static void MX_TIM9_Init(void)
{

	TIM_OC_InitTypeDef sConfigOC;

	htim9.Instance = TIM9;
	htim9.Init.Prescaler = 167;
	htim9.Init.CounterMode = TIM_COUNTERMODE_UP;
	htim9.Init.Period = 999;
	htim9.Init.ClockDivision = TIM_CLOCKDIVISION_DIV1;
	if (HAL_TIM_PWM_Init(&htim9) != HAL_OK)
	{
		_Error_Handler(__FILE__, __LINE__);
	}

	sConfigOC.OCMode = TIM_OCMODE_PWM1;
	sConfigOC.Pulse = 0;
	sConfigOC.OCPolarity = TIM_OCPOLARITY_LOW;
	sConfigOC.OCFastMode = TIM_OCFAST_DISABLE;
	if (HAL_TIM_PWM_ConfigChannel(&htim9, &sConfigOC, TIM_CHANNEL_1) != HAL_OK)
	{
		_Error_Handler(__FILE__, __LINE__);
	}

	HAL_TIM_MspPostInit(&htim9);

}

static void MX_DMA_Init(void)
{
	/* DMA controller clock enable */
	__HAL_RCC_DMA2_CLK_ENABLE();

	/* DMA interrupt init */
	/* DMA2_Stream0_IRQn interrupt configuration */
	HAL_NVIC_SetPriority(DMA2_Stream0_IRQn, 5, 0);
	HAL_NVIC_EnableIRQ(DMA2_Stream0_IRQn);

}

/** Configure pins as
 * Analog
 * Input
 * Output
 * EVENT_OUT
 * EXTI
 */
static void MX_GPIO_Init(void)
{

	GPIO_InitTypeDef GPIO_InitStruct;

	/* GPIO Ports Clock Enable */
	__HAL_RCC_GPIOE_CLK_ENABLE();
	__HAL_RCC_GPIOC_CLK_ENABLE();
	__HAL_RCC_GPIOH_CLK_ENABLE();
	__HAL_RCC_GPIOA_CLK_ENABLE();
	__HAL_RCC_GPIOB_CLK_ENABLE();
	__HAL_RCC_GPIOD_CLK_ENABLE();

	/*Configure GPIO pin Output Level */
	HAL_GPIO_WritePin(GPIOE, M1_MBL_Pin|M1_MAL_Pin, GPIO_PIN_RESET);

	/*Configure GPIO pin Output Level */
	HAL_GPIO_WritePin(GPIOC, M0_MBL_Pin|M2_MAL_Pin, GPIO_PIN_RESET);

	/*Configure GPIO pin Output Level */
	HAL_GPIO_WritePin(GPIOB, CT_uc_Pin|M2_MBL_Pin|M3_MBL_Pin|M3_MAL_Pin, GPIO_PIN_RESET);

	/*Configure GPIO pin Output Level */
	HAL_GPIO_WritePin(GPIOD, CA_Pin|CB_Pin|LED_GREEN_Pin|LED_ORANGE_Pin
			|LED_RED_Pin|LED_BLUE_Pin|M0_MAL_Pin, GPIO_PIN_RESET);

	/*Configure GPIO pin Output Level */
	HAL_GPIO_WritePin(GPIOC, MPU_CS_Pin|NRF_CE_Pin, GPIO_PIN_SET);

	/*Configure GPIO pin Output Level */
	HAL_GPIO_WritePin(GPIOD, NRF_SS_Pin|uSD_CS_Pin, GPIO_PIN_SET);

	/*Configure GPIO pin : ID_Button_Pin */
	GPIO_InitStruct.Pin = ID_Button_Pin;
	GPIO_InitStruct.Mode = GPIO_MODE_IT_RISING_FALLING;
	GPIO_InitStruct.Pull = GPIO_PULLUP;
	HAL_GPIO_Init(ID_Button_GPIO_Port, &GPIO_InitStruct);

	/*Configure GPIO pins : M1_MBL_Pin M1_MAL_Pin */
	GPIO_InitStruct.Pin = M1_MBL_Pin|M1_MAL_Pin;
	GPIO_InitStruct.Mode = GPIO_MODE_OUTPUT_PP;
	GPIO_InitStruct.Pull = GPIO_NOPULL;
	GPIO_InitStruct.Speed = GPIO_SPEED_FREQ_LOW;
	HAL_GPIO_Init(GPIOE, &GPIO_InitStruct);

	/*Configure GPIO pins : M0_MBL_Pin M2_MAL_Pin MPU_CS_Pin NRF_CE_Pin */
	GPIO_InitStruct.Pin = M0_MBL_Pin|M2_MAL_Pin|MPU_CS_Pin|NRF_CE_Pin;
	GPIO_InitStruct.Mode = GPIO_MODE_OUTPUT_PP;
	GPIO_InitStruct.Pull = GPIO_NOPULL;
	GPIO_InitStruct.Speed = GPIO_SPEED_FREQ_LOW;
	HAL_GPIO_Init(GPIOC, &GPIO_InitStruct);

	/*Configure GPIO pin : NRF_IRQ_Pin */
	GPIO_InitStruct.Pin = NRF_IRQ_Pin;
	GPIO_InitStruct.Mode = GPIO_MODE_INPUT;
	GPIO_InitStruct.Pull = GPIO_PULLUP;
	HAL_GPIO_Init(NRF_IRQ_GPIO_Port, &GPIO_InitStruct);

	/*Configure GPIO pins : CT_uc_Pin M2_MBL_Pin M3_MBL_Pin M3_MAL_Pin */
	GPIO_InitStruct.Pin = CT_uc_Pin|M2_MBL_Pin|M3_MBL_Pin|M3_MAL_Pin;
	GPIO_InitStruct.Mode = GPIO_MODE_OUTPUT_PP;
	GPIO_InitStruct.Pull = GPIO_NOPULL;
	GPIO_InitStruct.Speed = GPIO_SPEED_FREQ_LOW;
	HAL_GPIO_Init(GPIOB, &GPIO_InitStruct);

	/*Configure GPIO pin : INT_MPU_Pin */
	GPIO_InitStruct.Pin = INT_MPU_Pin;
	GPIO_InitStruct.Mode = GPIO_MODE_INPUT;
	GPIO_InitStruct.Pull = GPIO_PULLUP;
	HAL_GPIO_Init(INT_MPU_GPIO_Port, &GPIO_InitStruct);

	/*Configure GPIO pins : CA_Pin CB_Pin LED_GREEN_Pin LED_ORANGE_Pin
                           LED_RED_Pin LED_BLUE_Pin NRF_SS_Pin uSD_CS_Pin
                           M0_MAL_Pin */
	GPIO_InitStruct.Pin = CA_Pin|CB_Pin|LED_GREEN_Pin|LED_ORANGE_Pin
			|LED_RED_Pin|LED_BLUE_Pin|NRF_SS_Pin|uSD_CS_Pin
			|M0_MAL_Pin;
	GPIO_InitStruct.Mode = GPIO_MODE_OUTPUT_PP;
	GPIO_InitStruct.Pull = GPIO_NOPULL;
	GPIO_InitStruct.Speed = GPIO_SPEED_FREQ_LOW;
	HAL_GPIO_Init(GPIOD, &GPIO_InitStruct);

	/*Configure GPIO pin : S2_Pin */
	GPIO_InitStruct.Pin = S2_Pin;
	GPIO_InitStruct.Mode = GPIO_MODE_INPUT;
	GPIO_InitStruct.Pull = GPIO_NOPULL;
	HAL_GPIO_Init(S2_GPIO_Port, &GPIO_InitStruct);

	/*Configure GPIO pin : S1_Pin */
	GPIO_InitStruct.Pin = S1_Pin;
	GPIO_InitStruct.Mode = GPIO_MODE_INPUT;
	GPIO_InitStruct.Pull = GPIO_NOPULL;
	HAL_GPIO_Init(S1_GPIO_Port, &GPIO_InitStruct);

	/*Configure GPIO pins : Reset_Pin USB_overcurrent_Pin */
	GPIO_InitStruct.Pin = Reset_Pin|USB_overcurrent_Pin;
	GPIO_InitStruct.Mode = GPIO_MODE_AF_PP;
	GPIO_InitStruct.Pull = GPIO_NOPULL;
	GPIO_InitStruct.Speed = GPIO_SPEED_FREQ_LOW;
	GPIO_InitStruct.Alternate = GPIO_AF15_EVENTOUT;
	HAL_GPIO_Init(GPIOD, &GPIO_InitStruct);

	/* EXTI interrupt init*/
	HAL_NVIC_SetPriority(EXTI2_IRQn, 10, 0);
	HAL_NVIC_EnableIRQ(EXTI2_IRQn);

}

void STMPE811_Clear(){
	uint8_t data[1]={0xFF};
	HAL_I2C_Mem_Write(&hi2c1, 0x82, 0x11, 1, data, 1, 1000);
	data[0]=0;
	HAL_I2C_Mem_Write(&hi2c1, 0x82, 0x10, 1, data, 1, 1000);
}

void STMPE811_WriteNumber(uint8_t number){
	static const uint8_t number_table[16]={0x77, 0x06, 0xB5, 0x97, 0xC6, 0xD3, 0xF3, 0x07, 0xF7, 0xD7, 0xe7, 0xF2, 0x71, 0xB6, 0xF1, 0xE1};
	uint8_t data[1];
	data[0]=number_table[number%16] | ((number>15)?0x08:0x00);
	HAL_I2C_Mem_Write(&hi2c1, 0x82, 0x10, 1, data, 1, 1000);
	data[0]=~data[0];
	HAL_I2C_Mem_Write(&hi2c1, 0x82, 0x11, 1, data, 1, 1000);
}

void STMPE811_WriteLetter(uint8_t letter){
	uint8_t data[1];
	switch(letter){
	case 'i':
		data[0]=0x0A;
		break;
	case 'b':
		data[0]=0xFA;
		break;
	case 'o':
		data[0]=0xBA;
		break;
	case 'c':
		data[0]=0xB8;
		break;
	case '.':
		data[0]=0x08;
		break;
	default:
		data[0]=0;
	}
	HAL_I2C_Mem_Write(&hi2c1, 0x82, 0x10, 1, data, 1, 1000);
	data[0]=~data[0];
	HAL_I2C_Mem_Write(&hi2c1, 0x82, 0x11, 1, data, 1, 1000);
}

void SelfTest(){
	uint8_t data[2], rxdata[2];

	uint8_t error=0;

	//TESTE STMPE811
	if(HAL_I2C_IsDeviceReady(&hi2c1, 0x82, 3, 1000)==HAL_OK){
		data[0]=0x02;
		HAL_I2C_Mem_Write(&hi2c1, 0x82, 0x03, 1, data, 1, 1000);
		HAL_I2C_Mem_Read(&hi2c1,0x82, 0x00, 1, data, 2,1000);
		if(*(uint16_t*)data==0x1108){
			data[0]=0x0b;
			HAL_I2C_Mem_Write(&hi2c1, 0x82, 0x04, 1, data, 1, 1000);
			data[0]=0xff;
			HAL_I2C_Mem_Write(&hi2c1, 0x82, 0x17, 1, data, 1, 1000);
			HAL_I2C_Mem_Write(&hi2c1, 0x82, 0x13, 1, data, 1, 1000);
		}
	} else {
		error|=1;
	}

	//TESTE MPU
	data[0]=0xF5; data[1]=0xff;
	HAL_GPIO_WritePin(MPU_CS_GPIO_Port, MPU_CS_Pin, GPIO_PIN_RESET);
	HAL_SPI_TransmitReceive(&hspi2, data, rxdata, 2, 1000);
	HAL_GPIO_WritePin(MPU_CS_GPIO_Port, MPU_CS_Pin, GPIO_PIN_SET);
	osDelay(1);
	HAL_GPIO_WritePin(MPU_CS_GPIO_Port, MPU_CS_Pin, GPIO_PIN_RESET);
	HAL_SPI_TransmitReceive(&hspi2, data, rxdata, 2, 1000);
	HAL_GPIO_WritePin(MPU_CS_GPIO_Port, MPU_CS_Pin, GPIO_PIN_SET);
	if(rxdata[1]==0x71){
	} else {
		error|=2;
	}

	//TESTE NRF
	data[0]=0x00; data[1]=0xff;
	HAL_GPIO_WritePin(NRF_SS_GPIO_Port, NRF_SS_Pin, GPIO_PIN_RESET);
	HAL_SPI_TransmitReceive(&hspi1, data, rxdata, 2, 1000);
	HAL_GPIO_WritePin(NRF_SS_GPIO_Port, NRF_SS_Pin, GPIO_PIN_SET);
	osDelay(1);
	HAL_GPIO_WritePin(NRF_SS_GPIO_Port, NRF_SS_Pin, GPIO_PIN_RESET);
	HAL_SPI_TransmitReceive(&hspi1, data, rxdata, 2, 1000);
	HAL_GPIO_WritePin(NRF_SS_GPIO_Port, NRF_SS_Pin, GPIO_PIN_SET);

	if(rxdata[0]==0x0E){
	} else {
		error|=4;
	}

	if(error){
		uint8_t i=5;
		while(i--){
			STMPE811_WriteNumber(0x1E);
			osDelay(500);
			STMPE811_Clear();
			osDelay(100);
			STMPE811_WriteNumber(error);
			osDelay(1000);
			STMPE811_Clear();
			osDelay(100);
		}
	} else {

	}
}

extern "C" void HAL_GPIO_EXTI_Callback(uint16_t GPIO_Pin){
	if(GPIO_Pin==GPIO_PIN_2){
		static uint32_t tick=0;
		if(HAL_GPIO_ReadPin(ID_Button_GPIO_Port, ID_Button_Pin)==GPIO_PIN_RESET){
			tick=HAL_GetTick();
		} else {
			uint32_t delay=HAL_GetTick()-tick;
			if(delay<1000){
				osSignalSet(defaultTaskHandle, 0x01);
			} else {
				osSignalSet(defaultTaskHandle, 0x02);
			}
		}
	}
}

uint8_t AskForNumber(uint8_t number, uint8_t min, uint8_t max){
	uint8_t numbertemp=number;
	uint8_t timeout=5;
	osEvent signal;

	while(timeout){
		STMPE811_WriteNumber(numbertemp+16);
		osDelay(100);
		STMPE811_WriteNumber(numbertemp);
		signal=osSignalWait(0x03, 1000);
		if(signal.status==osEventTimeout){
			timeout--;
		} else {
			timeout=5;
			switch(signal.value.signals){
			case 1:
				numbertemp++;
				if(numbertemp>max){
					numbertemp=min;
				}
				break;
			case 2:
				return numbertemp;
				break;
			default:
				break;
			}
		}
	}
	return number;
}

/* StartDefaultTask function */
void StartDefaultTask(void const * argument)
{
	/* init code for USB_DEVICE */
	MX_USB_DEVICE_Init();

	SelfTest();

	uint8_t mode=0, old_mode=-1;
	uint8_t id=0;
	float vbat=0;
	uint8_t channel=52;
	uint8_t edit=0;
	osEvent signal;
	uint16_t adcvalue[8];
	float vref;
	HAL_ADC_Start_DMA(&hadc1, (uint32_t*)adcvalue, 8);

	/* USER CODE BEGIN 5 */
	/* Infinite loop */
	for(;;)
	{
		if(old_mode!=mode){
			switch(mode){
			case 0:
				STMPE811_WriteLetter('i');
				osDelay(500);
				STMPE811_WriteNumber(id);
				if(edit){
					id=AskForNumber(id, 0,15);
					edit=0;
					continue;
				}
				break;
			case 1:
				STMPE811_WriteLetter('b');
				osDelay(500);
				vref=1.25f/adcvalue[7]*4096.0f;
				vbat=(adcvalue[5]/4096.0f*vref);
				vbat=((43000.0f+330.0f)*vbat-330.0f*vref)/10000.0f;
				STMPE811_WriteNumber((uint8_t)vbat);
				osDelay(500);
				STMPE811_WriteLetter('.');
				osDelay(500);
				STMPE811_WriteNumber(((uint8_t)(vbat*10.0f))%10);
				osDelay(500);
				STMPE811_WriteNumber(((uint8_t)(vbat*100.0f))%10);
				osDelay(500);
				break;
			case 2:
				STMPE811_WriteLetter('c');
				osDelay(500);
				STMPE811_WriteNumber((channel/10)%10);
				osDelay(500);
				STMPE811_Clear();
				osDelay(50);
				STMPE811_WriteNumber(channel%10);
				if(edit){
					channel=channel%10+AskForNumber((channel/10)%10, 0,9)*10;
					channel=(channel/10)*10+AskForNumber(channel%10, 0,9);
					edit=0;
					continue;
				}
				break;
			default:
				break;
			}
			old_mode=mode;
		}
		signal=osSignalWait(0x03, 5000);
		if(signal.status==osEventTimeout){
			mode=0;
		} else {
			switch(signal.value.signals){
			case 1:
				++mode%=3;
				break;
			case 2:
				edit=1;
				old_mode++;
				break;
			default:
				break;
			}
		}
		if(edit){
		}
		osDelay(1);
	}
	/* USER CODE END 5 */
}

void _Error_Handler(char *file, int line)
{
	while(1)
	{
	}
}

/************************ (C) COPYRIGHT STMicroelectronics *****END OF FILE****/
